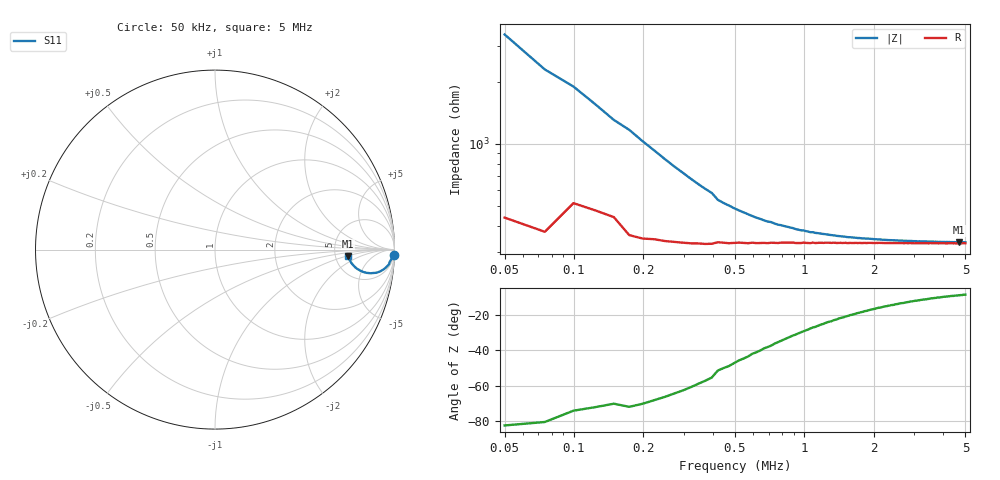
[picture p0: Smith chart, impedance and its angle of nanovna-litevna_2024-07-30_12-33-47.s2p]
! NanoVNA-App by OneOfEleven et al v1.1.209 (+OD15)
! Date: 2024-07-30 12:33:51
! Start: 50kHz Stop: 5MHz Points: 201
! S-Parameter data: F S11 S21 S12 S22
# Hz S RI R 50
!  Frequency  S11_Real  S11_Imag  S21_Real  S21_Imag  S12_Real  S12_Imag  S22_Real  S22_Imag
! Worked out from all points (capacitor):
!   201 points, 50 kHz to 5 MHz, reference 50 ohm
!   read as one part to ground: C = 876 pF near 74.75 kHz
!   lowest |Z| = 332 ohm at 4.703 MHz (marker M1)
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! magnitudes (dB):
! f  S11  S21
! 50 kHz  0.0  -87.5
! 74.75 kHz  -0.1  -86.1
! 149 kHz  -0.2  -89.3
! 173.8 kHz  -0.2  -96.6
! 223.2 kHz  -0.3  -99.6
! 396.5 kHz  -0.8  -92.9
! 421.2 kHz  -1.0  -104.7
! 520.2 kHz  -1.3  -96.6
! 594.5 kHz  -1.4  -89.3
! 668.8 kHz  -1.6  -88.8
! 767.8 kHz  -1.7  -89.3
! 891.5 kHz  -1.9  -85.5
! 1.065 MHz  -2.1  -88.6
! 1.188 MHz  -2.1  -90.9
! 1.411 MHz  -2.3  -89.9
! 1.708 MHz  -2.4  -86.7
! 2.179 MHz  -2.5  -94.5
! 2.525 MHz  -2.5  -87.7
! 3.366 MHz  -2.6  -85.3
! 4.183 MHz  -2.6  -95.0
! 4.703 MHz  -2.6  -98.2
! 5 MHz  -2.6  -86.1
